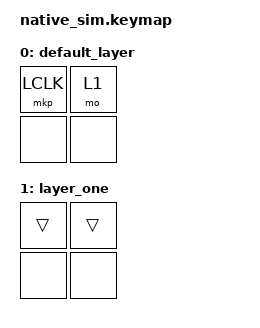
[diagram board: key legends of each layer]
#include <zephyr/dt-bindings/input/input-event-codes.h>

#include <behaviors.dtsi>
#include <input/processors.dtsi>
#include <dt-bindings/zmk/keys.h>
#include <dt-bindings/zmk/kscan_mock.h>
#include <dt-bindings/zmk/pointing.h>

/ {
    zip_layer_button_behaviors: zip_layer_button_behaviors {
        compatible = "zmk,input-processor-behaviors";
        #input-processor-cells = <0>;
        codes = <INPUT_BTN_0>;
        bindings = <&kp B>;
    };
};

&zip_button_behaviors {
    bindings = <&kp A &none &none>;
};

&mkp_input_listener {
    input-processors = <&zip_button_behaviors>;

    layer_one {
        layers = <1>;
        input-processors = <&zip_layer_button_behaviors>;
        process-next;
    };
};

/ {
    keymap {
        compatible = "zmk,keymap";

        default_layer {
            bindings = <
                &mkp LCLK &mo 1
                &none     &none
            >;
        };

        layer_one {
            bindings = <
                &trans &trans
                &none  &none
            >;
        };
    };
};

&kscan {
    events = <
        ZMK_MOCK_PRESS(0,0,10)
        ZMK_MOCK_RELEASE(0,0,10)
        ZMK_MOCK_PRESS(0,1,10)
        ZMK_MOCK_PRESS(0,0,10)
        ZMK_MOCK_RELEASE(0,0,10)
        ZMK_MOCK_RELEASE(0,1,10)
    >;
};
